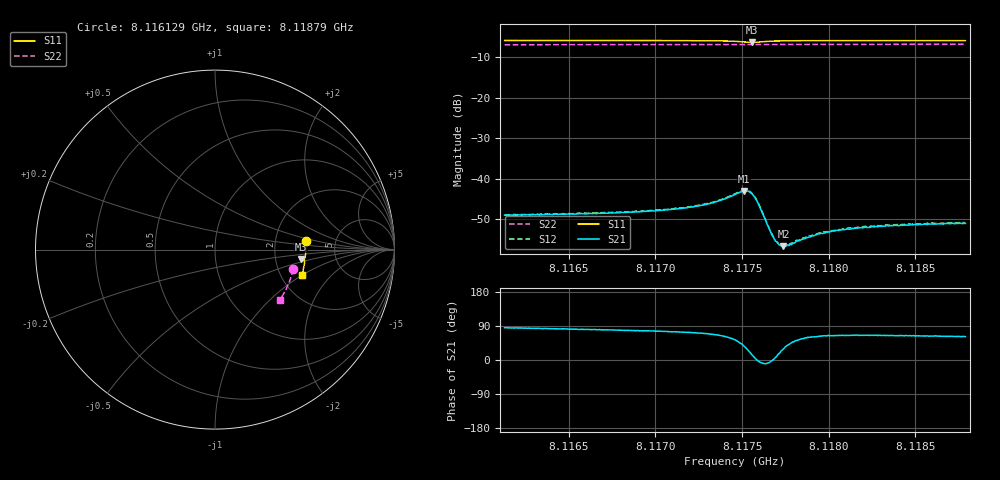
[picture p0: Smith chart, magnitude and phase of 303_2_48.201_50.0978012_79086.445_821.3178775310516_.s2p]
#  HZ  S  RI  R  50.00
! Rohde & Schwarz Vector Network Analyzer
! Rohde-Schwarz,ZNB20-2Port,1311601062101988,3.16
! Created: UTC 3/20/2024, 11:49:39 AM
! freq[Hz]  re:S11  im:S11  re:S21  im:S21  re:S12  im:S12  re:S22  im:S22
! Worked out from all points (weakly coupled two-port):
!   401 points, 8.116129 GHz to 8.11879 GHz, reference 50 ohm
!   highest |S21| = -43.06 dB at 8.117512 GHz (marker M1); lowest = -56.7 dB at 8.117739 GHz (marker M2)
!   lowest |S11| = -6.4 dB at 8.117559 GHz (marker M3), VSWR 2.85, Z = 139 - j18.7 ohm
!   |S11| at or under -10 dB: nowhere
!   |S22| runs from -7.0 to -6.8 dB; largest |S21 - S12| = 0.00017
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8.1161287e9  0.5048 0.0486  0.0003 0.0035  0.00037 0.00354  0.4348 -0.1103
8.1165744e9  0.5063 0.0149  0.000586 0.00362  0.000632 0.00369  0.4275 -0.1403
8.1170201e9  0.5052 -0.0197  0.000961 0.0039  0.00107 0.00396  0.4181 -0.1698
8.1171598e9  0.504 -0.0311  0.00121 0.00413  0.00128 0.00414  0.4146 -0.179
8.1172862e9  0.5018 -0.0423  0.00165 0.00448  0.00175 0.00454  0.4112 -0.1873
8.117366e9  0.4992 -0.0501  0.0022 0.00481  0.00232 0.00486  0.409 -0.1926
8.1174591e9  0.4916 -0.0593  0.00381 0.00508  0.00395 0.00513  0.4061 -0.1985
8.1175124e9  0.4823 -0.0602  0.00569 0.00414  0.0058 0.00417  0.4042 -0.2017
8.117539e9  0.4779 -0.0564  0.00632 0.00275  0.00647 0.00272  0.4033 -0.203
8.1175589e9  0.4771 -0.0516  0.00624 0.00142  0.00638 0.0014  0.4028 -0.204
8.1175922e9  0.4817 -0.0458  0.00496 -0.000227  0.00503 -0.000249  0.4022 -0.2056
8.1176587e9  0.4933 -0.0486  0.00232 -0.000264  0.00234 -0.000267  0.4007 -0.21
8.1176787e9  0.4953 -0.0509  0.00191 1.49e-05  0.00195 4.2e-06  0.4003 -0.2114
8.1177119e9  0.4971 -0.0549  0.00147 0.000443  0.00149 0.000424  0.3994 -0.2136
8.1177385e9  0.498 -0.0582  0.00127 0.000715  0.00133 0.000727  0.3986 -0.2151
8.1177784e9  0.4986 -0.0625  0.00112 0.00106  0.00116 0.00107  0.3973 -0.2179
8.117825e9  0.4989 -0.0671  0.00103 0.00136  0.00104 0.00135  0.3959 -0.2208
8.1179048e9  0.4986 -0.0746  0.000949 0.00171  0.000979 0.00175  0.3933 -0.2258
8.1180113e9  0.4976 -0.0837  0.000955 0.00199  0.00101 0.00204  0.3898 -0.2324
8.118111e9  0.4963 -0.0916  0.00101 0.00215  0.00106 0.00222  0.3864 -0.2387
8.1183505e9  0.4926 -0.1101  0.00112 0.00234  0.00113 0.0024  0.378 -0.2532
8.1187896e9  0.484 -0.1421  0.00133 0.00245  0.00133 0.00254  0.361 -0.2789
